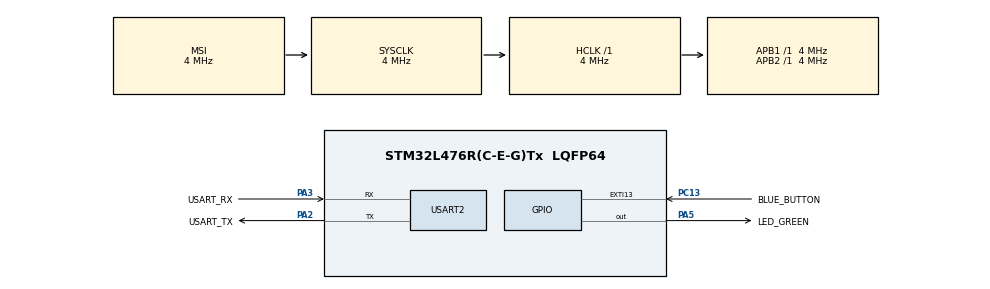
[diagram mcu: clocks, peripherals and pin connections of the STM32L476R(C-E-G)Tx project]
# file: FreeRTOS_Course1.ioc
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FREERTOS.BinarySemaphores01=myBinarySem01,Dynamic,NULL,Available
FREERTOS.CountingSemaphores01=myCountingSem01,2,Dynamic,NULL,0
FREERTOS.Mutexes01=myMutex01,Dynamic,NULL,Available
FREERTOS.Tasks01=Task1,24,256,StartTask1,Default,NULL,Dynamic,NULL,NULL
FREERTOS.Timers01=myTimer01,Callback01,osTimerPeriodic,Default,NULL,Dynamic,NULL
FREERTOS.configTOTAL_HEAP_SIZE=7000
FREERTOS.configUSE_NEWLIB_REENTRANT=1
Mcu.Family=STM32L4
Mcu.Name=STM32L476R(C-E-G)Tx
Mcu.Package=LQFP64
NVIC.EXTI15_10_IRQn=true\:5\:0\:false\:false\:true\:true\:true\:true\:true
NVIC.PriorityGroup=NVIC_PRIORITYGROUP_4
NVIC.TIM6_DAC_IRQn=true\:15\:0\:false\:false\:true\:false\:false\:true\:true
NVIC.TimeBase=TIM6_DAC_IRQn
NVIC.TimeBaseIP=TIM6
PA13\ (JTMS-SWDIO).GPIO_Label=TMS
PA13\ (JTMS-SWDIO).Mode=Trace_Asynchronous_SW
PA13\ (JTMS-SWDIO).Signal=SYS_JTMS-SWDIO
PA14\ (JTCK-SWCLK).GPIO_Label=TCK
PA14\ (JTCK-SWCLK).Mode=Trace_Asynchronous_SW
PA14\ (JTCK-SWCLK).Signal=SYS_JTCK-SWCLK
PA2.GPIO_Label=USART_TX
PA2.GPIO_Mode=GPIO_MODE_AF_PP
PA2.GPIO_PuPd=GPIO_NOPULL
PA2.GPIO_Speed=GPIO_SPEED_FREQ_VERY_HIGH
PA2.Mode=Asynchronous
PA2.Signal=USART2_TX
PA3.GPIO_Label=USART_RX
PA3.GPIO_Mode=GPIO_MODE_AF_PP
PA3.GPIO_PuPd=GPIO_NOPULL
PA3.GPIO_Speed=GPIO_SPEED_FREQ_VERY_HIGH
PA3.Mode=Asynchronous
PA3.Signal=USART2_RX
PA5.GPIO_Label=LED_GREEN
PA5.GPIO_ModeDefaultOutputPP=GPIO_MODE_OUTPUT_PP
PA5.GPIO_PuPd=GPIO_NOPULL
PA5.GPIO_Speed=GPIO_SPEED_FREQ_LOW
PA5.Signal=GPIO_Output
PB3\ (JTDO-TRACESWO).GPIO_Label=SWO
PB3\ (JTDO-TRACESWO).Mode=Trace_Asynchronous_SW
PB3\ (JTDO-TRACESWO).Signal=SYS_JTDO-SWO
PC13.GPIO_Label=BLUE_BUTTON
PC13.GPIO_ModeDefaultEXTI=GPIO_MODE_IT_RISING
PC13.GPIO_PuPd=GPIO_NOPULL
PC13.Signal=GPXTI13
PC14-OSC32_IN\ (PC14).Mode=LSE-External-Oscillator
PC14-OSC32_IN\ (PC14).Signal=RCC_OSC32_IN
PC15-OSC32_OUT\ (PC15).Mode=LSE-External-Oscillator
PC15-OSC32_OUT\ (PC15).Signal=RCC_OSC32_OUT
PH0-OSC_IN\ (PH0).Signal=RCC_OSC_IN
PH1-OSC_OUT\ (PH1).Signal=RCC_OSC_OUT
ProjectManager.HeapSize=0x200
ProjectManager.StackSize=0x400
ProjectManager.TargetToolchain=STM32CubeIDE
RCC.ADCFreq_Value=16000000
RCC.AHBFreq_Value=4000000
RCC.APB1Freq_Value=4000000
RCC.APB1TimFreq_Value=4000000
RCC.APB2Freq_Value=4000000
RCC.APB2TimFreq_Value=4000000
RCC.CortexFreq_Value=4000000
RCC.HCLKFreq_Value=4000000
RCC.HSE_VALUE=8000000
RCC.HSI_VALUE=16000000
RCC.MSI_VALUE=4000000
RCC.PLLN=10
RCC.SYSCLKFreq_VALUE=4000000
RCC.USBFreq_Value=16000000
RCC.VCOOutputFreq_Value=40000000
USART2.VirtualMode-Asynchronous=VM_ASYNC
VP_FREERTOS_VS_CMSIS_V2.Mode=CMSIS_V2
VP_SYS_VS_tim6.Mode=TIM6
board=NUCLEO-L476RG

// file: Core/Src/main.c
/* USER CODE BEGIN Header */
/**
  ******************************************************************************
  * @file           : main.c
  * @brief          : Main program body
  ******************************************************************************
  * @attention
  *
  * Copyright (c) 2026 STMicroelectronics.
  * All rights reserved.
  *
  * This software is licensed under terms that can be found in the LICENSE file
  * in the root directory of this software component.
  * If no LICENSE file comes with this software, it is provided AS-IS.
  *
  ******************************************************************************
  */
/* USER CODE END Header */
#include "main.h"
#include "cmsis_os.h"

UART_HandleTypeDef huart2;

/* Definitions for Task1 */
osThreadId_t Task1Handle;
const osThreadAttr_t Task1_attributes = {
  .name = "Task1",
  .stack_size = 256 * 4,
  .priority = (osPriority_t) osPriorityNormal,
};
/* Definitions for myTimer01 */
osTimerId_t myTimer01Handle;
const osTimerAttr_t myTimer01_attributes = {
  .name = "myTimer01"
};
/* Definitions for myMutex01 */
osMutexId_t myMutex01Handle;
const osMutexAttr_t myMutex01_attributes = {
  .name = "myMutex01"
};
/* Definitions for myBinarySem01 */
osSemaphoreId_t myBinarySem01Handle;
const osSemaphoreAttr_t myBinarySem01_attributes = {
  .name = "myBinarySem01"
};
/* Definitions for myCountingSem01 */
osSemaphoreId_t myCountingSem01Handle;
const osSemaphoreAttr_t myCountingSem01_attributes = {
  .name = "myCountingSem01"
};
/* USER CODE BEGIN PV */
typedef struct
{
	uint16_t Value;
	uint8_t Source;
} Data;

Data DataToSend1={'a',1};
Data DataToSend2={'b',2};
osEventFlagsId_t EventGroup1;
/* USER CODE END PV */

void SystemClock_Config(void);
static void MX_GPIO_Init(void);
static void MX_USART2_UART_Init(void);
void StartTask1(void *argument);
void Callback01(void *argument);

int main(void)
{

  /* MCU Configuration--------------------------------------------------------*/

  /* Reset of all peripherals, Initializes the Flash interface and the Systick. */
  HAL_Init();

  /* Configure the system clock */
  SystemClock_Config();

  /* Initialize all configured peripherals */
  MX_GPIO_Init();
  MX_USART2_UART_Init();

  /* Init scheduler */
  osKernelInitialize();
  /* Create the mutex(es) */
  /* creation of myMutex01 */
  myMutex01Handle = osMutexNew(&myMutex01_attributes);

  /* Create the semaphores(s) */
  /* creation of myBinarySem01 */
  myBinarySem01Handle = osSemaphoreNew(1, 1, &myBinarySem01_attributes);

  /* creation of myCountingSem01 */
  myCountingSem01Handle = osSemaphoreNew(2, 0, &myCountingSem01_attributes);

  /* Create the timer(s) */
  /* creation of myTimer01 */
  myTimer01Handle = osTimerNew(Callback01, osTimerPeriodic, NULL, &myTimer01_attributes);

  /* Create the thread(s) */
  /* creation of Task1 */
  Task1Handle = osThreadNew(StartTask1, NULL, &Task1_attributes);

  /* USER CODE BEGIN RTOS_EVENTS */
  /* add events, ... */
  EventGroup1 = osEventFlagsNew(NULL);
  /* USER CODE END RTOS_EVENTS */

  /* Start scheduler */
  osKernelStart();

  /* We should never get here as control is now taken by the scheduler */

  /* Infinite loop */
  while (1)
  {

  }
}

void SystemClock_Config(void)
{
  RCC_OscInitTypeDef RCC_OscInitStruct = {0};
  RCC_ClkInitTypeDef RCC_ClkInitStruct = {0};

  /** Configure the main internal regulator output voltage
  */
  if (HAL_PWREx_ControlVoltageScaling(PWR_REGULATOR_VOLTAGE_SCALE1) != HAL_OK)
  {
    Error_Handler();
  }

  /** Configure LSE Drive Capability
  */
  HAL_PWR_EnableBkUpAccess();
  __HAL_RCC_LSEDRIVE_CONFIG(RCC_LSEDRIVE_LOW);

  /** Initializes the RCC Oscillators according to the specified parameters
  * in the RCC_OscInitTypeDef structure.
  */
  RCC_OscInitStruct.OscillatorType = RCC_OSCILLATORTYPE_LSE|RCC_OSCILLATORTYPE_MSI;
  RCC_OscInitStruct.LSEState = RCC_LSE_ON;
  RCC_OscInitStruct.MSIState = RCC_MSI_ON;
  RCC_OscInitStruct.MSICalibrationValue = 0;
  RCC_OscInitStruct.MSIClockRange = RCC_MSIRANGE_6;
  RCC_OscInitStruct.PLL.PLLState = RCC_PLL_NONE;
  if (HAL_RCC_OscConfig(&RCC_OscInitStruct) != HAL_OK)
  {
    Error_Handler();
  }

  /** Initializes the CPU, AHB and APB buses clocks
  */
  RCC_ClkInitStruct.ClockType = RCC_CLOCKTYPE_HCLK|RCC_CLOCKTYPE_SYSCLK
                              |RCC_CLOCKTYPE_PCLK1|RCC_CLOCKTYPE_PCLK2;
  RCC_ClkInitStruct.SYSCLKSource = RCC_SYSCLKSOURCE_MSI;
  RCC_ClkInitStruct.AHBCLKDivider = RCC_SYSCLK_DIV1;
  RCC_ClkInitStruct.APB1CLKDivider = RCC_HCLK_DIV1;
  RCC_ClkInitStruct.APB2CLKDivider = RCC_HCLK_DIV1;

  if (HAL_RCC_ClockConfig(&RCC_ClkInitStruct, FLASH_LATENCY_0) != HAL_OK)
  {
    Error_Handler();
  }

  /** Enable MSI Auto calibration
  */
  HAL_RCCEx_EnableMSIPLLMode();
}

static void MX_USART2_UART_Init(void)
{

  huart2.Instance = USART2;
  huart2.Init.BaudRate = 115200;
  huart2.Init.WordLength = UART_WORDLENGTH_8B;
  huart2.Init.StopBits = UART_STOPBITS_1;
  huart2.Init.Parity = UART_PARITY_NONE;
  huart2.Init.Mode = UART_MODE_TX_RX;
  huart2.Init.HwFlowCtl = UART_HWCONTROL_NONE;
  huart2.Init.OverSampling = UART_OVERSAMPLING_16;
  huart2.Init.OneBitSampling = UART_ONE_BIT_SAMPLE_DISABLE;
  huart2.AdvancedInit.AdvFeatureInit = UART_ADVFEATURE_NO_INIT;
  if (HAL_UART_Init(&huart2) != HAL_OK)
  {
    Error_Handler();
  }

}

static void MX_GPIO_Init(void)
{
  GPIO_InitTypeDef GPIO_InitStruct = {0};

  /* GPIO Ports Clock Enable */
  __HAL_RCC_GPIOC_CLK_ENABLE();
  __HAL_RCC_GPIOH_CLK_ENABLE();
  __HAL_RCC_GPIOA_CLK_ENABLE();
  __HAL_RCC_GPIOB_CLK_ENABLE();

  /*Configure GPIO pin Output Level */
  HAL_GPIO_WritePin(LED_GREEN_GPIO_Port, LED_GREEN_Pin, GPIO_PIN_RESET);

  /*Configure GPIO pin : BLUE_BUTTON_Pin */
  GPIO_InitStruct.Pin = BLUE_BUTTON_Pin;
  GPIO_InitStruct.Mode = GPIO_MODE_IT_RISING;
  GPIO_InitStruct.Pull = GPIO_NOPULL;
  HAL_GPIO_Init(BLUE_BUTTON_GPIO_Port, &GPIO_InitStruct);

  /*Configure GPIO pin : LED_GREEN_Pin */
  GPIO_InitStruct.Pin = LED_GREEN_Pin;
  GPIO_InitStruct.Mode = GPIO_MODE_OUTPUT_PP;
  GPIO_InitStruct.Pull = GPIO_NOPULL;
  GPIO_InitStruct.Speed = GPIO_SPEED_FREQ_LOW;
  HAL_GPIO_Init(LED_GREEN_GPIO_Port, &GPIO_InitStruct);

  /* EXTI interrupt init*/
  HAL_NVIC_SetPriority(EXTI15_10_IRQn, 5, 0);
  HAL_NVIC_EnableIRQ(EXTI15_10_IRQn);

}

/* USER CODE BEGIN 4 */
void Task_action(char message){
	ITM_SendChar(message);
	ITM_SendChar('\n');
}
void HAL_GPIO_EXTI_Callback(uint16_t GPIO_Pin){
	osThreadFlagsSet(Task1Handle,1);
	Task_action('!');
}
/* USER CODE END 4 */

void StartTask1(void *argument)
{
  /* USER CODE BEGIN 5 */
  /* Infinite loop */
  osTimerStart(myTimer01Handle,1000);
  for(;;)
  {
	osDelay(2000);
	Task_action('1');
  }
  /* USER CODE END 5 */
}

/* Callback01 function */
void Callback01(void *argument)
{
  /* USER CODE BEGIN Callback01 */
  Task_action('c');
  /* USER CODE END Callback01 */
}

void HAL_TIM_PeriodElapsedCallback(TIM_HandleTypeDef *htim)
{
  if (htim->Instance == TIM6)
  {
    HAL_IncTick();
  }
}

void Error_Handler(void)
{
  __disable_irq();
  while (1)
  {
  }
}
